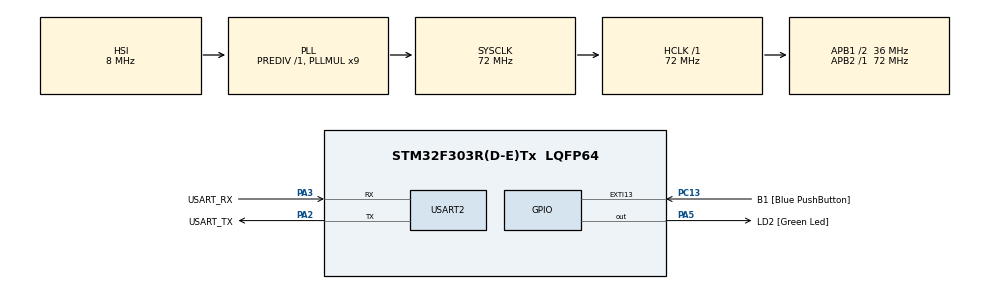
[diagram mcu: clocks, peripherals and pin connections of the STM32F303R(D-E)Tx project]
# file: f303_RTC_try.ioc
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Mcu.Family=STM32F3
PC15-OSC32_OUT.Mode=LSE-External-Oscillator
PA2.GPIO_PuPd=GPIO_NOPULL
RCC.CortexFreq_Value=72000000
PC13.Signal=GPXTI13
PA14.GPIO_Label=TCK
RCC.SYSCLKSourceVirtual=RCC_SYSCLKSOURCE_PLLCLK
PA3.GPIO_PuPd=GPIO_NOPULL
PA2.GPIO_Speed=GPIO_SPEED_FREQ_LOW
VP_RTC_VS_RTC_Activate.Mode=RTC_Enabled
PC13.GPIO_Label=B1 [Blue PushButton]
RCC.APB1CLKDivider=RCC_HCLK_DIV2
PC14-OSC32_IN.Signal=RCC_OSC32_IN
PA3.GPIO_Speed=GPIO_SPEED_FREQ_LOW
ProjectManager.StackSize=0x400
PA13.Signal=SYS_JTMS-SWDIO
PA3.Mode=Asynchronous
ProjectManager.TargetToolchain=STM32CubeIDE
PA3.GPIO_Mode=GPIO_MODE_AF_PP
RCC.HCLKFreq_Value=72000000
RCC.APB2TimFreq_Value=72000000
RCC.USBFreq_Value=72000000
PC15-OSC32_OUT.Signal=RCC_OSC32_OUT
RCC.AHBFreq_Value=72000000
PF0-OSC_IN.Mode=HSE-External-Clock-Source
PA5.Signal=GPIO_Output
RCC.HSE_VALUE=8000000
board=NUCLEO-F303RE
USART2.VirtualMode-Asynchronous=VM_ASYNC
RCC.RCC_PLLsource_Clock_Source_FROM_HSE=RCC_HSE_PREDIV_DIV2
RCC.PLLMUL=RCC_PLL_MUL9
RCC.APB2Freq_Value=72000000
PC14-OSC32_IN.Mode=LSE-External-Oscillator
PA14.Mode=Serial_Wire
PA5.GPIO_PuPd=GPIO_NOPULL
PA13.Mode=Serial_Wire
Mcu.Name=STM32F303R(D-E)Tx
PA2.Signal=USART2_TX
PA13.GPIO_Label=TMS
PB3.Signal=SYS_JTDO-TRACESWO
RCC.SYSCLKFreq_VALUE=72000000
Mcu.Package=LQFP64
PA5.GPIO_Label=LD2 [Green Led]
PC13.GPIO_ModeDefaultEXTI=GPIO_MODE_IT_FALLING
PA2.GPIO_Label=USART_TX
PA14.Signal=SYS_JTCK-SWCLK
ProjectManager.HeapSize=0x200
RCC.HSI_VALUE=8000000
RCC.PLLP=RCC_PLLP_DIV4
PA5.GPIO_Speed=GPIO_SPEED_FREQ_LOW
RCC.PLLQ=7
NVIC.PriorityGroup=NVIC_PRIORITYGROUP_0
RCC.PLLM=8
RCC.PLLN=336
RCC.APB1TimFreq_Value=72000000
PA2.Mode=Asynchronous
PF0-OSC_IN.Signal=RCC_OSC_IN
RCC.APB1Freq_Value=36000000
PA5.GPIO_Mode=GPIO_MODE_OUTPUT_PP
PF1-OSC_OUT.Signal=RCC_OSC_OUT
PA3.GPIO_Label=USART_RX
PA3.Signal=USART2_RX
PA2.GPIO_Mode=GPIO_MODE_AF_PP
PB3.GPIO_Label=SWO

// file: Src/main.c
/* USER CODE BEGIN Header */
/**
  ******************************************************************************
  * @file           : main.c
  * @brief          : Main program body
  ******************************************************************************
  * @attention
  *
  * <h2><center>&copy; Copyright (c) 2021 STMicroelectronics.
  * All rights reserved.</center></h2>
  *
  * This software component is licensed by ST under BSD 3-Clause license,
  * the "License"; You may not use this file except in compliance with the
  * License. You may obtain a copy of the License at:
  *                        opensource.org/licenses/BSD-3-Clause
  *
  ******************************************************************************
  */
/* USER CODE END Header */
#include "main.h"

/* USER CODE BEGIN Includes */
#include "stdio.h"
#include "string.h"
/* USER CODE END Includes */

/* USER CODE BEGIN PD */
#define		TX_BUF_DIM		1000

/* USER CODE END PD */

RTC_HandleTypeDef hrtc;

UART_HandleTypeDef huart2;

/* USER CODE BEGIN PV */
static uint8_t tx_buffer[TX_BUF_DIM];

/* USER CODE END PV */

void SystemClock_Config(void);
static void MX_GPIO_Init(void);
static void MX_RTC_Init(void);
static void MX_USART2_UART_Init(void);

int main(void)
{

  /* MCU Configuration--------------------------------------------------------*/

  /* Reset of all peripherals, Initializes the Flash interface and the Systick. */
  HAL_Init();

  /* Configure the system clock */
  SystemClock_Config();

  /* Initialize all configured peripherals */
  MX_GPIO_Init();
  MX_RTC_Init();
  MX_USART2_UART_Init();
  /* USER CODE BEGIN 2 */

  // Declare structs to store date/time
  RTC_DateTypeDef sdatestructureget;
  RTC_TimeTypeDef stimestructureget;

  /* USER CODE END 2 */

  /* Infinite loop */
  /* USER CODE BEGIN WHILE */
  while (1)
  {
	/* Get the RTC current Time */
	HAL_RTC_GetTime(&hrtc, &stimestructureget, RTC_FORMAT_BIN);

	/* Get the RTC current Date */
	HAL_RTC_GetDate(&hrtc, &sdatestructureget, RTC_FORMAT_BIN);

	/* Format and print to USART2*/
	sprintf((char *)tx_buffer, "DATE -- Year:20%hu\t Month:%hu\t Date:%hu\t Weekday:%hu\nTIME -- Hour:%hu\t\t Minute:%hu\t Second:%hu\t Subsecond:%hu\n\n",
							  (uint16_t)sdatestructureget.Year, (uint16_t)sdatestructureget.Month, (uint16_t)sdatestructureget.Date, (uint16_t)sdatestructureget.WeekDay,
							  (uint16_t)stimestructureget.Hours, (uint16_t)stimestructureget.Minutes, (uint16_t)stimestructureget.Seconds, (uint16_t)stimestructureget.SubSeconds);

	HAL_UART_Transmit(&huart2, tx_buffer, strlen((char const *)tx_buffer ), 1000);

	HAL_Delay(1000);

    /* USER CODE END WHILE */

  }
}

void SystemClock_Config(void)
{
  RCC_OscInitTypeDef RCC_OscInitStruct = {0};
  RCC_ClkInitTypeDef RCC_ClkInitStruct = {0};
  RCC_PeriphCLKInitTypeDef PeriphClkInit = {0};

  /** Initializes the RCC Oscillators according to the specified parameters
  * in the RCC_OscInitTypeDef structure.
  */
  RCC_OscInitStruct.OscillatorType = RCC_OSCILLATORTYPE_HSI|RCC_OSCILLATORTYPE_LSI;
  RCC_OscInitStruct.HSIState = RCC_HSI_ON;
  RCC_OscInitStruct.HSICalibrationValue = RCC_HSICALIBRATION_DEFAULT;
  RCC_OscInitStruct.LSIState = RCC_LSI_ON;
  RCC_OscInitStruct.PLL.PLLState = RCC_PLL_ON;
  RCC_OscInitStruct.PLL.PLLSource = RCC_PLLSOURCE_HSI;
  RCC_OscInitStruct.PLL.PLLMUL = RCC_PLL_MUL9;
  RCC_OscInitStruct.PLL.PREDIV = RCC_PREDIV_DIV1;
  if (HAL_RCC_OscConfig(&RCC_OscInitStruct) != HAL_OK)
  {
    Error_Handler();
  }
  /** Initializes the CPU, AHB and APB buses clocks
  */
  RCC_ClkInitStruct.ClockType = RCC_CLOCKTYPE_HCLK|RCC_CLOCKTYPE_SYSCLK
                              |RCC_CLOCKTYPE_PCLK1|RCC_CLOCKTYPE_PCLK2;
  RCC_ClkInitStruct.SYSCLKSource = RCC_SYSCLKSOURCE_PLLCLK;
  RCC_ClkInitStruct.AHBCLKDivider = RCC_SYSCLK_DIV1;
  RCC_ClkInitStruct.APB1CLKDivider = RCC_HCLK_DIV2;
  RCC_ClkInitStruct.APB2CLKDivider = RCC_HCLK_DIV1;

  if (HAL_RCC_ClockConfig(&RCC_ClkInitStruct, FLASH_LATENCY_2) != HAL_OK)
  {
    Error_Handler();
  }
  PeriphClkInit.PeriphClockSelection = RCC_PERIPHCLK_USART2|RCC_PERIPHCLK_RTC;
  PeriphClkInit.Usart2ClockSelection = RCC_USART2CLKSOURCE_PCLK1;
  PeriphClkInit.RTCClockSelection = RCC_RTCCLKSOURCE_LSI;
  if (HAL_RCCEx_PeriphCLKConfig(&PeriphClkInit) != HAL_OK)
  {
    Error_Handler();
  }
}

static void MX_RTC_Init(void)
{

  /** Initialize RTC Only
  */
  hrtc.Instance = RTC;
  hrtc.Init.HourFormat = RTC_HOURFORMAT_24;
  hrtc.Init.AsynchPrediv = 127;
  hrtc.Init.SynchPrediv = 255;
  hrtc.Init.OutPut = RTC_OUTPUT_DISABLE;
  hrtc.Init.OutPutPolarity = RTC_OUTPUT_POLARITY_HIGH;
  hrtc.Init.OutPutType = RTC_OUTPUT_TYPE_OPENDRAIN;
  if (HAL_RTC_Init(&hrtc) != HAL_OK)
  {
    Error_Handler();
  }
  /* USER CODE BEGIN RTC_Init 2 */

  RTC_DateTypeDef sdatestructure;
  RTC_TimeTypeDef stimestructure;

  /*##-1- Configure the Date #################################################*/
  /* Set Date: Tuesday February 18th 2014 */
  sdatestructure.Year = 0x20;
  sdatestructure.Month = RTC_MONTH_FEBRUARY;
  sdatestructure.Date = 0x18;
  sdatestructure.WeekDay = RTC_WEEKDAY_THURSDAY;

  if(HAL_RTC_SetDate(&hrtc,&sdatestructure,RTC_FORMAT_BCD) != HAL_OK)
  {
	  /* Initialization Error */
	  Error_Handler();
  }

  /*##-2- Configure the Time #################################################*/
  /* Set Time: 02:00:00 */
  stimestructure.Hours = 0x03;
  stimestructure.Minutes = 0x34;
  stimestructure.Seconds = 0x00;
  stimestructure.TimeFormat = RTC_HOURFORMAT12_AM;
  stimestructure.DayLightSaving = RTC_DAYLIGHTSAVING_NONE ;
  stimestructure.StoreOperation = RTC_STOREOPERATION_RESET;

  if (HAL_RTC_SetTime(&hrtc, &stimestructure, RTC_FORMAT_BCD) != HAL_OK)
  {
	  /* Initialization Error */
	  Error_Handler();
  }

  /* USER CODE END RTC_Init 2 */

}

static void MX_USART2_UART_Init(void)
{

  huart2.Instance = USART2;
  huart2.Init.BaudRate = 38400;
  huart2.Init.WordLength = UART_WORDLENGTH_8B;
  huart2.Init.StopBits = UART_STOPBITS_1;
  huart2.Init.Parity = UART_PARITY_NONE;
  huart2.Init.Mode = UART_MODE_TX_RX;
  huart2.Init.HwFlowCtl = UART_HWCONTROL_NONE;
  huart2.Init.OverSampling = UART_OVERSAMPLING_16;
  huart2.Init.OneBitSampling = UART_ONE_BIT_SAMPLE_DISABLE;
  huart2.AdvancedInit.AdvFeatureInit = UART_ADVFEATURE_NO_INIT;
  if (HAL_UART_Init(&huart2) != HAL_OK)
  {
    Error_Handler();
  }

}

static void MX_GPIO_Init(void)
{
  GPIO_InitTypeDef GPIO_InitStruct = {0};

  /* GPIO Ports Clock Enable */
  __HAL_RCC_GPIOC_CLK_ENABLE();
  __HAL_RCC_GPIOF_CLK_ENABLE();
  __HAL_RCC_GPIOA_CLK_ENABLE();
  __HAL_RCC_GPIOB_CLK_ENABLE();

  /*Configure GPIO pin Output Level */
  HAL_GPIO_WritePin(LD2_GPIO_Port, LD2_Pin, GPIO_PIN_RESET);

  /*Configure GPIO pin : B1_Pin */
  GPIO_InitStruct.Pin = B1_Pin;
  GPIO_InitStruct.Mode = GPIO_MODE_IT_FALLING;
  GPIO_InitStruct.Pull = GPIO_NOPULL;
  HAL_GPIO_Init(B1_GPIO_Port, &GPIO_InitStruct);

  /*Configure GPIO pin : LD2_Pin */
  GPIO_InitStruct.Pin = LD2_Pin;
  GPIO_InitStruct.Mode = GPIO_MODE_OUTPUT_PP;
  GPIO_InitStruct.Pull = GPIO_NOPULL;
  GPIO_InitStruct.Speed = GPIO_SPEED_FREQ_LOW;
  HAL_GPIO_Init(LD2_GPIO_Port, &GPIO_InitStruct);

}

void Error_Handler(void)
{
}

/************************ (C) COPYRIGHT STMicroelectronics *****END OF FILE****/
